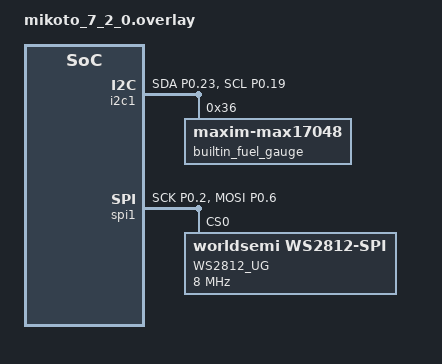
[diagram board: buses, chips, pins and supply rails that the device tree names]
/*
 * Mikoto v7.2.0 + Sofle: I2C fuel gauge + WS2812/SK6812 underglow (SPI)
 */

#include "mikoto-pinctrl.dtsi"
#include "arduino_pro_micro_pins_v6.dtsi"

/* ==== PINCTRL ==== */
&pinctrl {
    /* I2C1 (fuel gauge MAX17048) */
    i2c1_default: i2c1_default {
        group1 {
            psels = <NRF_PSEL(TWIM_SDA, 0, 23)>,
                    <NRF_PSEL(TWIM_SCL, 0, 19)>;
            bias-pull-up;
        };
    };

    i2c1_sleep: i2c1_sleep {
        group1 {
            psels = <NRF_PSEL(TWIM_SDA, 0, 23)>,
                    <NRF_PSEL(TWIM_SCL, 0, 19)>;
            low-power-enable;
            bias-pull-up;
        };
    };

    /* SPI1 para la tira (DIN en MOSI, aquí P0.06) */
    spi1_default: spi1_default {
        group1 {
            psels = <NRF_PSEL(SPIM_SCK,  0, 2)>,   /* SCK dummy */
                    <NRF_PSEL(SPIM_MOSI, 0, 6)>;  /* MOSI -> DIN LEDs */
        };
    };

    spi1_sleep: spi1_sleep {
        group1 {
            psels = <NRF_PSEL(SPIM_SCK,  0, 2)>,
                    <NRF_PSEL(SPIM_MOSI, 0, 6)>;
            low-power-enable;
        };
    };
};

/* ==== I2C1 (Battery Fuel Gauge) ==== */
&i2c1 {
    status = "okay";
    compatible = "nordic,nrf-twi";
    pinctrl-0 = <&i2c1_default>;
    pinctrl-1 = <&i2c1_sleep>;
    pinctrl-names = "default", "sleep";

    builtin_fuel_gauge: max17048@36 {
        compatible = "zmk,maxim-max17048";
        status = "okay";
        reg = <0x36>;
    };
};

/* ==== SPI1 (LED Strip) ==== */
&spi1 {
    status = "okay";
    pinctrl-0 = <&spi1_default>;
    pinctrl-1 = <&spi1_sleep>;
    pinctrl-names = "default", "sleep";

    ws2812_ug: ws2812@0 {
        compatible = "worldsemi,ws2812-spi";
        label = "WS2812_UG";
        reg = <0>;
        spi-max-frequency = <8000000>;

        chain-length = <56>;
        color-mapping = <1 0 2>;

        spi-one-frame  = <0x70>;
        spi-zero-frame = <0x40>;
    };
};

/* ==== CHOSEN ==== */
 / {
    chosen {
        zmk,underglow = &ws2812_ug;
    };
};
